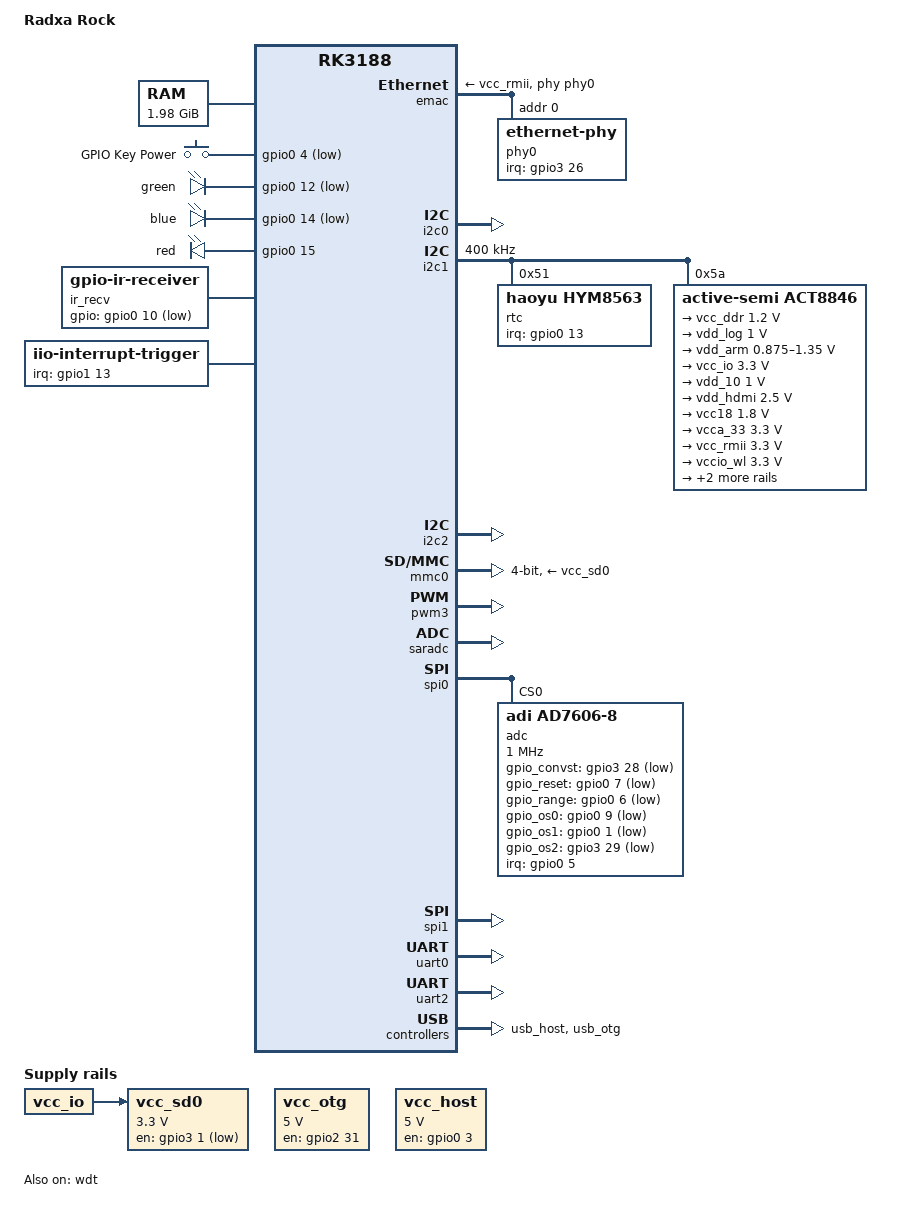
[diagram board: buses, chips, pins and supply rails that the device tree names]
/*
 * Copyright (c) 2013 Heiko Stuebner <heiko@sntech.de>
 *
 * This program is free software; you can redistribute it and/or modify
 * it under the terms of the GNU General Public License as published by
 * the Free Software Foundation; either version 2 of the License, or
 * (at your option) any later version.
 *
 * This program is distributed in the hope that it will be useful,
 * but WITHOUT ANY WARRANTY; without even the implied warranty of
 * MERCHANTABILITY or FITNESS FOR A PARTICULAR PURPOSE.  See the
 * GNU General Public License for more details.
 */

/dts-v1/;
#include "rk3188.dtsi"

/ {
	model = "Radxa Rock";
	compatible = "radxa,rock", "rockchip,rk3188";

	memory {
		reg = <0x60000000 0x7f000000>;
	};

	framebuffer {
		compatible = "simple-framebuffer";
		reg = <0xdf000000 (1280 * 720 * 4)>;
		width = <1280>;
		height = <720>;
		stride = <(1280 * 4)>;
		format = "x8r8g8b8";
		pinctrl-names = "default";
		pinctrl-0 = <&lcdc1_clk &lcdc1_rgb888 &hdmi_rst_n>;
	};

	gpio-keys {
		compatible = "gpio-keys";
		#address-cells = <1>;
		#size-cells = <0>;
		autorepeat;

		button@0 {
			gpios = <&gpio0 4 GPIO_ACTIVE_LOW>;
			linux,code = <116>;
			label = "GPIO Key Power";
			linux,input-type = <1>;
			gpio-key,wakeup = <1>;
			debounce-interval = <100>;
		};
	};

	gpio-leds {
		compatible = "gpio-leds";

		green {
			label = "green";
			gpios = <&gpio0 12 GPIO_ACTIVE_LOW>;
			linux,default-trigger = "heartbeat";
		};

		blue {
			label = "blue";
			gpios = <&gpio0 14 GPIO_ACTIVE_LOW>;
			linux,default-trigger = "mmc0";
		};

		red {
			label = "red";
			gpios = <&gpio0 15 GPIO_ACTIVE_HIGH>;
			linux,default-trigger = "rc-feedback";
		};
	};

	ir_recv: gpio-ir-receiver {
		compatible = "gpio-ir-receiver";
		gpios = <&gpio0 10 1>;
		pinctrl-names = "default";
		pinctrl-0 = <&ir_recv_pin>;
	};

	vcc_otg: usb-otg-regulator {
		compatible = "regulator-fixed";
		enable-active-high;
		gpio = <&gpio2 31 GPIO_ACTIVE_HIGH>;
		pinctrl-names = "default";
		pinctrl-0 = <&otg_vbus_drv>;
		regulator-name = "otg-vbus";
		regulator-min-microvolt = <5000000>;
		regulator-max-microvolt = <5000000>;
		regulator-always-on;
		regulator-boot-on;
	};

	vcc_sd0: sdmmc-regulator {
		compatible = "regulator-fixed";
		regulator-name = "sdmmc-supply";
		regulator-min-microvolt = <3300000>;
		regulator-max-microvolt = <3300000>;
		gpio = <&gpio3 1 GPIO_ACTIVE_LOW>;
		startup-delay-us = <100000>;
		vin-supply = <&vcc_io>;
	};

	vcc_host: usb-host-regulator {
		compatible = "regulator-fixed";
		enable-active-high;
		gpio = <&gpio0 3 GPIO_ACTIVE_HIGH>;
		pinctrl-names = "default";
		pinctrl-0 = <&host_vbus_drv>;
		regulator-name = "host-pwr";
		regulator-min-microvolt = <5000000>;
		regulator-max-microvolt = <5000000>;
		regulator-always-on;
		regulator-boot-on;
	};

	iio-trigger-hrtimer {
		compatible = "iio-trigger-hrtimer";
		status = "okay";
		/*interrupts = <3 IRQ_TYPE_EDGE_BOTH>;*/
	};

	iio-interrupt-trigger {
		compatible = "iio-interrupt-trigger";
		status = "okay";
		interrupt-parent = <&gpio1>;
		interrupts = <13 IRQ_TYPE_EDGE_FALLING>;
	};

};

&emac {
	status = "okay";

	pinctrl-names = "default";
	pinctrl-0 = <&emac_xfer>, <&emac_mdio>, <&phy_int>;

	phy = <&phy0>;
	phy-supply = <&vcc_rmii>;

	phy0: ethernet-phy@0 {
		reg = <0>;
		interrupt-parent = <&gpio3>;
		interrupts = <26 IRQ_TYPE_LEVEL_LOW>;
	};
};

&i2c0 {
	status = "okay";
};

&i2c1 {
	status = "okay";
	clock-frequency = <400000>;

	rtc@51 {
		compatible = "haoyu,hym8563";
		reg = <0x51>;
		interrupt-parent = <&gpio0>;
		interrupts = <13 IRQ_TYPE_EDGE_FALLING>;
		pinctrl-names = "default";
		pinctrl-0 = <&rtc_int>;
		#clock-cells = <0>;
		clock-output-names = "xin32k";
	};

	act8846: act8846@5a {
		compatible = "active-semi,act8846";
		reg = <0x5a>;
		status = "okay";

		pinctrl-names = "default";
		pinctrl-0 = <&act8846_dvs0_ctl>;

		regulators {
			vcc_ddr: REG1 {
				regulator-name = "VCC_DDR";
				regulator-min-microvolt = <1200000>;
				regulator-max-microvolt = <1200000>;
				regulator-always-on;
			};

			vdd_log: REG2 {
				regulator-name = "VDD_LOG";
				regulator-min-microvolt = <1000000>;
				regulator-max-microvolt = <1000000>;
				regulator-always-on;
			};

			vdd_arm: REG3 {
				regulator-name = "VDD_ARM";
				regulator-min-microvolt = <875000>;
				regulator-max-microvolt = <1350000>;
				regulator-always-on;
			};

			vcc_io: REG4 {
				regulator-name = "VCC_IO";
				regulator-min-microvolt = <3300000>;
				regulator-max-microvolt = <3300000>;
				regulator-always-on;
			};

			vdd_10: REG5 {
				regulator-name = "VDD_10";
				regulator-min-microvolt = <1000000>;
				regulator-max-microvolt = <1000000>;
				regulator-always-on;
			};

			vdd_hdmi: REG6 {
				regulator-name = "VDD_HDMI";
				regulator-min-microvolt = <2500000>;
				regulator-max-microvolt = <2500000>;
				regulator-always-on;
			};

			vcc18: REG7 {
				regulator-name = "VCC_18";
				regulator-min-microvolt = <1800000>;
				regulator-max-microvolt = <1800000>;
				regulator-always-on;
			};

			vcca_33: REG8 {
				regulator-name = "VCCA_33";
				regulator-min-microvolt = <3300000>;
				regulator-max-microvolt = <3300000>;
				regulator-always-on;
			};

			vcc_rmii: REG9 {
				regulator-name = "VCC_RMII";
				regulator-min-microvolt = <3300000>;
				regulator-max-microvolt = <3300000>;
			};

			vccio_wl: REG10 {
				regulator-name = "VCCIO_WL";
				regulator-min-microvolt = <3300000>;
				regulator-max-microvolt = <3300000>;
				regulator-always-on;
			};

			vcc_18: REG11 {
				regulator-name = "VCC18_IO";
				regulator-min-microvolt = <1800000>;
				regulator-max-microvolt = <1800000>;
				regulator-always-on;
			};

			vcc28: REG12 {
				regulator-name = "VCC_28";
				regulator-min-microvolt = <2800000>;
				regulator-max-microvolt = <2800000>;
				regulator-always-on;
			};
		};
	};
};

&i2c2 {
	status = "okay";
};

&mmc0 {
	num-slots = <1>;
	status = "okay";
	pinctrl-names = "default";
	pinctrl-0 = <&sd0_clk>, <&sd0_cmd>, <&sd0_cd>, <&sd0_bus4>;
	vmmc-supply = <&vcc_sd0>;

	bus-width = <4>;
	disable-wp;
};

&pwm1 {
	status = "disabled";
};

&pwm2 {
	status = "disabled";
};

&pwm3 {
	status = "okay";
};

&pinctrl {
	pcfg_output_low: pcfg-output-low {
		output-low;
	};

	pcfg_output_high: pcfg-output-high {
		output-high;
	};

	act8846 {
		act8846_dvs0_ctl: act8846-dvs0-ctl {
			rockchip,pins = <RK_GPIO3 27 RK_FUNC_GPIO &pcfg_output_low>;
		};
	};

	hym8563 {
		rtc_int: rtc-int {
			rockchip,pins = <RK_GPIO0 0 RK_FUNC_GPIO &pcfg_pull_up>;
		};
	};

	lan8720a  {
		phy_int: phy-int {
			rockchip,pins = <RK_GPIO3 26 RK_FUNC_GPIO &pcfg_pull_up>;
		};
	};

	it66121 {
		hdmi_rst_n: hdmi_rst_n {
			rockchip,pins = <RK_GPIO3 10 RK_FUNC_GPIO &pcfg_output_high>;
		};
	};

	ir-receiver {
		ir_recv_pin: ir-recv-pin {
			rockchip,pins = <RK_GPIO0 10 RK_FUNC_GPIO &pcfg_pull_none>;
		};
	};

	usb {
		host_vbus_drv: host-vbus-drv {
			rockchip,pins = <0 3 RK_FUNC_GPIO &pcfg_pull_none>;
		};
		otg_vbus_drv: otg-vbus-drv {
			rockchip,pins = <2 31 RK_FUNC_GPIO &pcfg_pull_none>;
		};
	};

	lcdc1 {
		lcdc1_clk: lcdc1-clk {
			rockchip,pins = <RK_GPIO2 24 RK_FUNC_1 &pcfg_pull_none>, /* lcd1_dclk  */
					<RK_GPIO2 25 RK_FUNC_1 &pcfg_pull_none>, /* lcd1_den   */
					<RK_GPIO2 26 RK_FUNC_1 &pcfg_pull_none>, /* lcd1_hsync */
					<RK_GPIO2 27 RK_FUNC_1 &pcfg_pull_none>; /* lcd1_vsync */
		};

		lcdc1_rgb888: lcdc1-rgb888 {
			rockchip,pins = <RK_GPIO2 0 RK_FUNC_1 &pcfg_pull_none>,  /*  D0 = B0 */
					<RK_GPIO2 1 RK_FUNC_1 &pcfg_pull_none>,  /*  D1 = B1 */
					<RK_GPIO2 2 RK_FUNC_1 &pcfg_pull_none>,  /*  D2 = B2 */
					<RK_GPIO2 3 RK_FUNC_1 &pcfg_pull_none>,  /*  D3 = B3 */
					<RK_GPIO2 4 RK_FUNC_1 &pcfg_pull_none>,  /*  D4 = B4 */
					<RK_GPIO2 5 RK_FUNC_1 &pcfg_pull_none>,  /*  D5 = B5 */
					<RK_GPIO2 6 RK_FUNC_1 &pcfg_pull_none>,  /*  D6 = B6 */
					<RK_GPIO2 7 RK_FUNC_1 &pcfg_pull_none>,  /*  D7 = B7 */
					<RK_GPIO2 8 RK_FUNC_1 &pcfg_pull_none>,  /*  D8 = G0 */
					<RK_GPIO2 9 RK_FUNC_1 &pcfg_pull_none>,  /*  D9 = G1 */
					<RK_GPIO2 10 RK_FUNC_1 &pcfg_pull_none>, /* D10 = G2 */
					<RK_GPIO2 11 RK_FUNC_1 &pcfg_pull_none>, /* D11 = G3 */
					<RK_GPIO2 12 RK_FUNC_1 &pcfg_pull_none>, /* D12 = G4 */
					<RK_GPIO2 13 RK_FUNC_1 &pcfg_pull_none>, /* D13 = G5 */
					<RK_GPIO2 14 RK_FUNC_1 &pcfg_pull_none>, /* D14 = G6 */
					<RK_GPIO2 15 RK_FUNC_1 &pcfg_pull_none>, /* D15 = G7 */
					<RK_GPIO2 16 RK_FUNC_1 &pcfg_pull_none>, /* D16 = R0 */
					<RK_GPIO2 17 RK_FUNC_1 &pcfg_pull_none>, /* D17 = R1 */
					<RK_GPIO2 18 RK_FUNC_1 &pcfg_pull_none>, /* D18 = R2 */
					<RK_GPIO2 19 RK_FUNC_1 &pcfg_pull_none>, /* D19 = R3 */
					<RK_GPIO2 20 RK_FUNC_1 &pcfg_pull_none>, /* D20 = R4 */
					<RK_GPIO2 21 RK_FUNC_1 &pcfg_pull_none>, /* D21 = R5 */
					<RK_GPIO2 22 RK_FUNC_1 &pcfg_pull_none>, /* D22 = R6 */
					<RK_GPIO2 23 RK_FUNC_1 &pcfg_pull_none>; /* D23 = R7 */
		};
	};

	ad7606 {
		gpio_convst: gpio-convst {
			rockchip,pins = <RK_GPIO3 28 RK_FUNC_GPIO &pcfg_pull_none>; 
		};
		gpio_reset: gpio-reset {
			rockchip,pins = <RK_GPIO0 7 RK_FUNC_GPIO &pcfg_pull_none>;  
		};
		gpio_range: gpio-range {
			rockchip,pins = <RK_GPIO0 6 RK_FUNC_GPIO &pcfg_pull_none>;  
		};
		gpio_os0: gpio-os0 {
			rockchip,pins = <RK_GPIO0 9 RK_FUNC_GPIO &pcfg_pull_none>;  
		};
		gpio_os1: gpio-os1 {
			rockchip,pins = <RK_GPIO0 1 RK_FUNC_GPIO &pcfg_pull_none>;  
		};
		gpio_os2: gpio-os2 {
			rockchip,pins = <RK_GPIO3 29 RK_FUNC_GPIO &pcfg_pull_none>; 
		};
		/*gpio_frstdata: gpio-frstdata {
			rockchip,pins = <RK_GPIO1 2 RK_FUNC_GPIO &pcfg_pull_none>;  
		};*/
	};
};

&saradc {
	status = "okay";
};

&spi0 {
	status = "okay";
	adc@0 {
		compatible = "adi,ad7606-8";
		reg = <0>;
		spi-max-frequency = <1000000>;
		spi-cpha;
		spi-cpol;
		ad7606,default_os = <0>;
		ad7606,default_range = <10000>;
		ad7606,gpio_convst = <&gpio3 28 GPIO_ACTIVE_LOW>;
		ad7606,gpio_reset = <&gpio0 7 GPIO_ACTIVE_LOW>;
		ad7606,gpio_range = <&gpio0 6 GPIO_ACTIVE_LOW>;
		ad7606,gpio_os0 = <&gpio0 9 GPIO_ACTIVE_LOW>;
		ad7606,gpio_os1 = <&gpio0 1 GPIO_ACTIVE_LOW>;
		ad7606,gpio_os2 = <&gpio3 29 GPIO_ACTIVE_LOW>;
		/*ad7606,gpio_frstdata =  <&gpio1 2 GPIO_ACTIVE_LOW>;*/
		pinctrl-names = "default";
		pinctrl-0 = <&gpio_convst &gpio_reset &gpio_range &gpio_os0 &gpio_os1 &gpio_os2>;
		interrupt-parent = <&gpio0>;
		interrupts = <5 IRQ_TYPE_EDGE_FALLING>;
		dmas = <&dmac2 0>;
		dma-names = "rx";
	};
};

&spi1 {
	status = "okay";
};

&uart0 {
	status = "okay";
};

&uart1 {
	status = "disabled";
};

&uart2 {
	status = "okay";
};

&uart3 {
	status = "disabled";
};

&usb_host {
	status = "okay";
};

&usb_otg {
	status = "okay";
};

&wdt {
	status = "okay";
};
